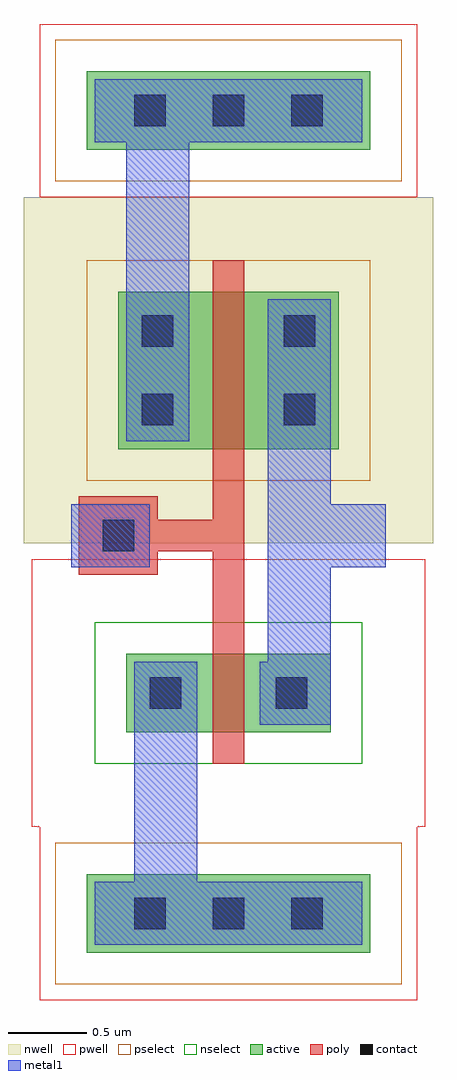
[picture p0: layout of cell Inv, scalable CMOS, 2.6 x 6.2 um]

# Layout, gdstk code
import gdstk
lib = gdstk.Library(unit=1e-6, precision=1e-09)
def R(c, l, rs):  # rectangles x0, y0, x1, y1
    for r in rs: c.add(gdstk.rectangle(r[:2], r[2:], *l))
def A(c, l, x, y, w, h, nx, ny, dx, dy):  # array of equal rectangles
    R(c, l, [(x+i*dx, y+j*dy, x+i*dx+w, y+j*dy+h) for i in range(nx) for j in range(ny)])
contact = (25, 0)
pwell = (41, 0)
nwell = (42, 0)
active = (43, 0)
pselect = (44, 0)
nselect = (45, 0)
poly = (46, 0)
metal1 = (49, 0)

inv = lib.new_cell('Inv')
A(inv, contact, -0.6, -2.5, 0.2, 0.2, 3, 2, 0.5, 5.1)
R(inv, contact, [(-0.5,-1.1,-0.3,-0.9), (0.3,-1.1,0.5,-0.9), (-0.8,-0.1,-0.6,0.1), (-0.55,0.7,-0.35,0.9), (0.35,0.7,0.55,0.9), (-0.55,1.2,-0.35,1.4), (0.35,1.2,0.55,1.4)])
R(inv, pwell, [(-1.2,-2.95,1.2,-1.85), (-1.25,-1.85,0.45,-0.15), (-1,-1.85,1,-0.15), (-0.45,-1.85,1.25,-0.15), (-1.15,-1.75,0.375,-0.25), (-0.4,-1.75,1.125,-0.25), (-1.2,2.15,1.2,3.25)])
R(inv, nwell, [(-1.3,-0.05,0.4,2.15), (-1,-0.05,1,2.15), (-0.4,-0.05,1.3,2.15), (-1.2,0.3,0.375,1.8), (-0.375,0.3,1.15,1.8)])
R(inv, active, [(-0.9,-2.65,0.9,-2.15), (-0.65,-1.25,-0.15,-0.75), (-0.4,-1.25,0.4,-0.75), (0.15,-1.25,0.65,-0.75), (-0.55,-1.15,-0.225,-0.85), (0.2,-1.15,0.525,-0.85), (-0.7,0.55,-0.2,1.55), (-0.4,0.55,0.4,1.55), (0.2,0.55,0.7,1.55), (-0.6,0.9,-0.225,1.2), (0.225,0.9,0.55,1.2), (-0.9,2.45,0.9,2.95)])
R(inv, pselect, [(-1.1,-2.85,1.1,-1.95), (-0.9,0.35,0,1.75), (-0.6,0.35,0.6,1.75), (0,0.35,0.9,1.75), (-0.8,0.7,-0.025,1.4), (0.025,0.7,0.75,1.4), (-1.1,2.25,1.1,3.15)])
R(inv, nselect, [(-0.85,-1.45,0.05,-0.55), (-0.6,-1.45,0.6,-0.55), (-0.05,-1.45,0.85,-0.55), (-0.75,-1.35,-0.025,-0.65), (0,-1.35,0.725,-0.65)])
R(inv, poly, [(-0.1,-1.45,0.1,-0.55), (-0.1,-0.65,0.1,0.1), (-0.95,-0.25,-0.45,0.25), (-0.85,-0.1,0.1,0.1), (-0.1,-0.1,0.1,0.45), (-0.1,0.35,0.1,1.75)])
R(inv, metal1, [(-0.85,-2.6,0.85,-2.2), (-0.6,-2.6,-0.2,-0.8), (-0.6,-1.2,-0.2,-0.8), (0.2,-1.2,0.6,-0.8), (0.2,-1.2,0.65,-0.8), (0.25,-1.2,0.65,0.2), (-1,-0.2,-0.5,0.2), (-0.9,-0.2,-0.5,0.2), (0.25,-0.2,0.65,1.45), (0.25,-0.2,1,0.2), (-0.65,0.6,-0.25,1.5), (0.25,0.6,0.65,1.5), (-0.65,0.85,-0.25,2.85), (-0.85,2.5,0.85,2.9)])

lib.write_gds('Inv.gds')
